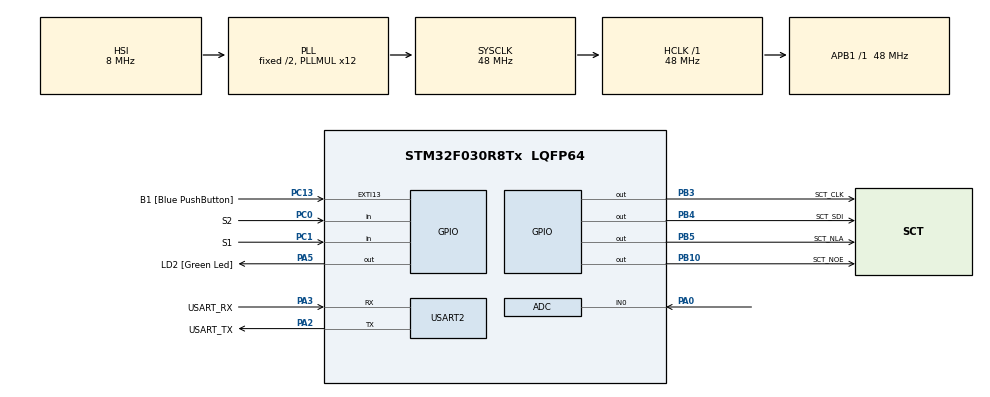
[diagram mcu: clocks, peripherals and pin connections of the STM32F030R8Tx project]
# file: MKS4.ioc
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ADC.ContinuousConvMode=ENABLE
ADC.Overrun=ADC_OVR_DATA_OVERWRITTEN
ADC.SamplingTime=ADC_SAMPLETIME_239CYCLES_5
Mcu.Family=STM32F0
Mcu.Name=STM32F030R8Tx
Mcu.Package=LQFP64
NVIC.ADC1_IRQn=true\:0\:0\:false\:false\:true\:true\:true\:true
PA0.Mode=IN0
PA0.Signal=ADC_IN0
PA13.GPIO_Label=TMS
PA13.Mode=Serial_Wire
PA13.Signal=SYS_SWDIO
PA14.GPIO_Label=TCK
PA14.Mode=Serial_Wire
PA14.Signal=SYS_SWCLK
PA2.GPIO_Label=USART_TX
PA2.GPIO_Mode=GPIO_MODE_AF_PP
PA2.GPIO_PuPd=GPIO_NOPULL
PA2.GPIO_Speed=GPIO_SPEED_FREQ_LOW
PA2.Mode=Asynchronous
PA2.Signal=USART2_TX
PA3.GPIO_Label=USART_RX
PA3.GPIO_Mode=GPIO_MODE_AF_PP
PA3.GPIO_PuPd=GPIO_NOPULL
PA3.GPIO_Speed=GPIO_SPEED_FREQ_LOW
PA3.Mode=Asynchronous
PA3.Signal=USART2_RX
PA5.GPIO_Label=LD2 [Green Led]
PA5.GPIO_Mode=GPIO_MODE_OUTPUT_PP
PA5.GPIO_PuPd=GPIO_NOPULL
PA5.GPIO_Speed=GPIO_SPEED_FREQ_LOW
PA5.Signal=GPIO_Output
PB10.GPIO_Label=SCT_NOE
PB10.Signal=GPIO_Output
PB3.GPIO_Label=SCT_CLK
PB3.Signal=GPIO_Output
PB4.GPIO_Label=SCT_SDI
PB4.Signal=GPIO_Output
PB5.GPIO_Label=SCT_NLA
PB5.Signal=GPIO_Output
PC0.GPIO_Label=S2
PC0.GPIO_PuPd=GPIO_PULLUP
PC0.Signal=GPIO_Input
PC1.GPIO_Label=S1
PC1.GPIO_PuPd=GPIO_PULLUP
PC1.Signal=GPIO_Input
PC13.GPIO_Label=B1 [Blue PushButton]
PC13.GPIO_ModeDefaultEXTI=GPIO_MODE_IT_FALLING
PC13.Signal=GPXTI13
PC14-OSC32_IN.Mode=LSE-External-Oscillator
PC14-OSC32_IN.Signal=RCC_OSC32_IN
PC15-OSC32_OUT.Mode=LSE-External-Oscillator
PC15-OSC32_OUT.Signal=RCC_OSC32_OUT
PF0-OSC_IN.Mode=HSE-External-Clock-Source
PF0-OSC_IN.Signal=RCC_OSC_IN
PF1-OSC_OUT.Signal=RCC_OSC_OUT
ProjectManager.HeapSize=0x200
ProjectManager.StackSize=0x400
ProjectManager.TargetToolchain=STM32CubeIDE
RCC.AHBFreq_Value=48000000
RCC.APB1Freq_Value=48000000
RCC.APB1TimFreq_Value=48000000
RCC.HCLKFreq_Value=48000000
RCC.PLLMUL=RCC_PLL_MUL12
RCC.SYSCLKFreq_VALUE=48000000
RCC.SYSCLKSource=RCC_SYSCLKSOURCE_PLLCLK
USART2.VirtualMode-Asynchronous=VM_ASYNC
VP_ADC_TempSens_Input.Mode=IN-TempSens
VP_ADC_Vref_Input.Mode=IN-Vrefint
board=NUCLEO-F030R8

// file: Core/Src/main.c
/* USER CODE BEGIN Header */
/**
  ******************************************************************************
  * @file           : main.c
  * @brief          : Main program body
  ******************************************************************************
  * @attention
  *
  * Copyright (c) 2025 STMicroelectronics.
  * All rights reserved.
  *
  * This software is licensed under terms that can be found in the LICENSE file
  * in the root directory of this software component.
  * If no LICENSE file comes with this software, it is provided AS-IS.
  *
  ******************************************************************************
  */
/* USER CODE END Header */
#include "main.h"

/* USER CODE BEGIN PD */
#define ADC_Q (15)

#define TEMP110_CAL_ADDR ((uint16_t*) ((uint32_t) 0x1FFFF7C2))
#define TEMP30_CAL_ADDR ((uint16_t*) ((uint32_t) 0x1FFFF7B8))

#define VREFINT_CAL_ADDR ((uint16_t*) ((uint32_t) 0x1FFFF7BA))

/* USER CODE END PD */

ADC_HandleTypeDef hadc;

UART_HandleTypeDef huart2;

void SystemClock_Config(void);
static void MX_GPIO_Init(void);
static void MX_USART2_UART_Init(void);
static void MX_ADC_Init(void);

/* USER CODE BEGIN 0 */

static volatile uint32_t raw_pot = 0;
static volatile uint16_t raw_temp = 0;
static volatile uint16_t raw_volt = 0;
static uint8_t channel = 0;

void HAL_ADC_ConvCpltCallback(ADC_HandleTypeDef* hadc)
  {
	if (channel == 0) {
		static uint32_t avg_pot;
		raw_pot = avg_pot >> ADC_Q;
		avg_pot -= raw_pot;
		avg_pot += HAL_ADC_GetValue(hadc);
	} else if (channel == 1) {
	    raw_temp = HAL_ADC_GetValue(hadc);
	} else if (channel == 2) {
	    raw_volt = HAL_ADC_GetValue(hadc);
	}
	// Check if end of sequence
	    if (__HAL_ADC_GET_FLAG(hadc, ADC_FLAG_EOS)) {
	        channel = 0;
	    } else {
	        channel++;
	    }
  }

/* USER CODE END 0 */

int main(void)
{

  /* MCU Configuration--------------------------------------------------------*/

  /* Reset of all peripherals, Initializes the Flash interface and the Systick. */
  HAL_Init();

  /* Configure the system clock */
  SystemClock_Config();

  /* Initialize all configured peripherals */
  MX_GPIO_Init();
  MX_USART2_UART_Init();
  MX_ADC_Init();
  /* USER CODE BEGIN 2 */

  HAL_ADCEx_Calibration_Start(&hadc);  // Calibrate ADC
  HAL_ADC_Start_IT(&hadc);             // Start ADC in interrupt mode
  sct_init();

  static enum { SHOW_POT, SHOW_VOLT, SHOW_TEMP } state = SHOW_POT;
  static uint32_t state_change_time = 0;

  /* USER CODE END 2 */

  /* Infinite loop */
  while (1)
  {

    /* USER CODE BEGIN 3 */
	  uint32_t calculate_voltage(void) {
	       return 330 * (*VREFINT_CAL_ADDR) / raw_volt;
	   }

	  int32_t calculate_temperature(void) {
	        int32_t temperature = (raw_temp - (int32_t)(*TEMP30_CAL_ADDR));
	        temperature = temperature * (110 - 30);
	        temperature = temperature / ((int32_t)(*TEMP110_CAL_ADDR - *TEMP30_CAL_ADDR));
	        return temperature + 30;
	    }

	  static uint32_t state_change_time = 0;

	          // Cycle to next state
	          if (HAL_GPIO_ReadPin(S1_GPIO_Port, S1_Pin) == 0) {
	              state = SHOW_VOLT;
	          } else if (HAL_GPIO_ReadPin(S2_GPIO_Port, S2_Pin) == 0) {
	              state = SHOW_TEMP;
	          } else {
	              state = SHOW_POT;
	          }

	      // Display value based on current state
	      if (state == SHOW_POT) {
	    	  uint32_t scaled = ((raw_pot * 501) / 4096);         // Rescale to 0–500
	    	  uint8_t led_count = ((raw_pot * 9) / 4096);         // Determine LED bargraph level (0–8)
	    	  sct_value(scaled, led_count);                   // Display value and LED bargraph
	      } else if (state == SHOW_VOLT) {
	          sct_value(calculate_voltage(),0);
	          HAL_Delay(1000);
	      } else if (state == SHOW_TEMP) {
	          sct_value(calculate_temperature(),0);
	          HAL_Delay(1000);
	      }

	      HAL_Delay(50); // Small delay to reduce CPU usage

  }
  /* USER CODE END 3 */
}

void SystemClock_Config(void)
{
  RCC_OscInitTypeDef RCC_OscInitStruct = {0};
  RCC_ClkInitTypeDef RCC_ClkInitStruct = {0};

  /** Initializes the RCC Oscillators according to the specified parameters
  * in the RCC_OscInitTypeDef structure.
  */
  RCC_OscInitStruct.OscillatorType = RCC_OSCILLATORTYPE_HSI|RCC_OSCILLATORTYPE_HSI14;
  RCC_OscInitStruct.HSIState = RCC_HSI_ON;
  RCC_OscInitStruct.HSI14State = RCC_HSI14_ON;
  RCC_OscInitStruct.HSICalibrationValue = RCC_HSICALIBRATION_DEFAULT;
  RCC_OscInitStruct.HSI14CalibrationValue = 16;
  RCC_OscInitStruct.PLL.PLLState = RCC_PLL_ON;
  RCC_OscInitStruct.PLL.PLLSource = RCC_PLLSOURCE_HSI;
  RCC_OscInitStruct.PLL.PLLMUL = RCC_PLL_MUL12;
  RCC_OscInitStruct.PLL.PREDIV = RCC_PREDIV_DIV1;
  if (HAL_RCC_OscConfig(&RCC_OscInitStruct) != HAL_OK)
  {
    Error_Handler();
  }

  /** Initializes the CPU, AHB and APB buses clocks
  */
  RCC_ClkInitStruct.ClockType = RCC_CLOCKTYPE_HCLK|RCC_CLOCKTYPE_SYSCLK
                              |RCC_CLOCKTYPE_PCLK1;
  RCC_ClkInitStruct.SYSCLKSource = RCC_SYSCLKSOURCE_PLLCLK;
  RCC_ClkInitStruct.AHBCLKDivider = RCC_SYSCLK_DIV1;
  RCC_ClkInitStruct.APB1CLKDivider = RCC_HCLK_DIV1;

  if (HAL_RCC_ClockConfig(&RCC_ClkInitStruct, FLASH_LATENCY_1) != HAL_OK)
  {
    Error_Handler();
  }
}

static void MX_ADC_Init(void)
{

  ADC_ChannelConfTypeDef sConfig = {0};

  /** Configure the global features of the ADC (Clock, Resolution, Data Alignment and number of conversion)
  */
  hadc.Instance = ADC1;
  hadc.Init.ClockPrescaler = ADC_CLOCK_ASYNC_DIV1;
  hadc.Init.Resolution = ADC_RESOLUTION_12B;
  hadc.Init.DataAlign = ADC_DATAALIGN_RIGHT;
  hadc.Init.ScanConvMode = ADC_SCAN_DIRECTION_FORWARD;
  hadc.Init.EOCSelection = ADC_EOC_SINGLE_CONV;
  hadc.Init.LowPowerAutoWait = DISABLE;
  hadc.Init.LowPowerAutoPowerOff = DISABLE;
  hadc.Init.ContinuousConvMode = ENABLE;
  hadc.Init.DiscontinuousConvMode = DISABLE;
  hadc.Init.ExternalTrigConv = ADC_SOFTWARE_START;
  hadc.Init.ExternalTrigConvEdge = ADC_EXTERNALTRIGCONVEDGE_NONE;
  hadc.Init.DMAContinuousRequests = DISABLE;
  hadc.Init.Overrun = ADC_OVR_DATA_OVERWRITTEN;
  if (HAL_ADC_Init(&hadc) != HAL_OK)
  {
    Error_Handler();
  }

  /** Configure for the selected ADC regular channel to be converted.
  */
  sConfig.Channel = ADC_CHANNEL_0;
  sConfig.Rank = ADC_RANK_CHANNEL_NUMBER;
  sConfig.SamplingTime = ADC_SAMPLETIME_239CYCLES_5;
  if (HAL_ADC_ConfigChannel(&hadc, &sConfig) != HAL_OK)
  {
    Error_Handler();
  }

  /** Configure for the selected ADC regular channel to be converted.
  */
  sConfig.Channel = ADC_CHANNEL_TEMPSENSOR;
  if (HAL_ADC_ConfigChannel(&hadc, &sConfig) != HAL_OK)
  {
    Error_Handler();
  }

  /** Configure for the selected ADC regular channel to be converted.
  */
  sConfig.Channel = ADC_CHANNEL_VREFINT;
  if (HAL_ADC_ConfigChannel(&hadc, &sConfig) != HAL_OK)
  {
    Error_Handler();
  }

}

static void MX_USART2_UART_Init(void)
{

  huart2.Instance = USART2;
  huart2.Init.BaudRate = 38400;
  huart2.Init.WordLength = UART_WORDLENGTH_8B;
  huart2.Init.StopBits = UART_STOPBITS_1;
  huart2.Init.Parity = UART_PARITY_NONE;
  huart2.Init.Mode = UART_MODE_TX_RX;
  huart2.Init.HwFlowCtl = UART_HWCONTROL_NONE;
  huart2.Init.OverSampling = UART_OVERSAMPLING_16;
  huart2.Init.OneBitSampling = UART_ONE_BIT_SAMPLE_DISABLE;
  huart2.AdvancedInit.AdvFeatureInit = UART_ADVFEATURE_NO_INIT;
  if (HAL_UART_Init(&huart2) != HAL_OK)
  {
    Error_Handler();
  }

}

static void MX_GPIO_Init(void)
{
  GPIO_InitTypeDef GPIO_InitStruct = {0};

  /* GPIO Ports Clock Enable */
  __HAL_RCC_GPIOC_CLK_ENABLE();
  __HAL_RCC_GPIOF_CLK_ENABLE();
  __HAL_RCC_GPIOA_CLK_ENABLE();
  __HAL_RCC_GPIOB_CLK_ENABLE();

  /*Configure GPIO pin Output Level */
  HAL_GPIO_WritePin(LD2_GPIO_Port, LD2_Pin, GPIO_PIN_RESET);

  /*Configure GPIO pin Output Level */
  HAL_GPIO_WritePin(GPIOB, SCT_NOE_Pin|SCT_CLK_Pin|SCT_SDI_Pin|SCT_NLA_Pin, GPIO_PIN_RESET);

  /*Configure GPIO pin : B1_Pin */
  GPIO_InitStruct.Pin = B1_Pin;
  GPIO_InitStruct.Mode = GPIO_MODE_IT_FALLING;
  GPIO_InitStruct.Pull = GPIO_NOPULL;
  HAL_GPIO_Init(B1_GPIO_Port, &GPIO_InitStruct);

  /*Configure GPIO pins : S2_Pin S1_Pin */
  GPIO_InitStruct.Pin = S2_Pin|S1_Pin;
  GPIO_InitStruct.Mode = GPIO_MODE_INPUT;
  GPIO_InitStruct.Pull = GPIO_PULLUP;
  HAL_GPIO_Init(GPIOC, &GPIO_InitStruct);

  /*Configure GPIO pin : LD2_Pin */
  GPIO_InitStruct.Pin = LD2_Pin;
  GPIO_InitStruct.Mode = GPIO_MODE_OUTPUT_PP;
  GPIO_InitStruct.Pull = GPIO_NOPULL;
  GPIO_InitStruct.Speed = GPIO_SPEED_FREQ_LOW;
  HAL_GPIO_Init(LD2_GPIO_Port, &GPIO_InitStruct);

  /*Configure GPIO pins : SCT_NOE_Pin SCT_CLK_Pin SCT_SDI_Pin SCT_NLA_Pin */
  GPIO_InitStruct.Pin = SCT_NOE_Pin|SCT_CLK_Pin|SCT_SDI_Pin|SCT_NLA_Pin;
  GPIO_InitStruct.Mode = GPIO_MODE_OUTPUT_PP;
  GPIO_InitStruct.Pull = GPIO_NOPULL;
  GPIO_InitStruct.Speed = GPIO_SPEED_FREQ_LOW;
  HAL_GPIO_Init(GPIOB, &GPIO_InitStruct);

}

void Error_Handler(void)
{
  __disable_irq();
  while (1)
  {
  }
}
